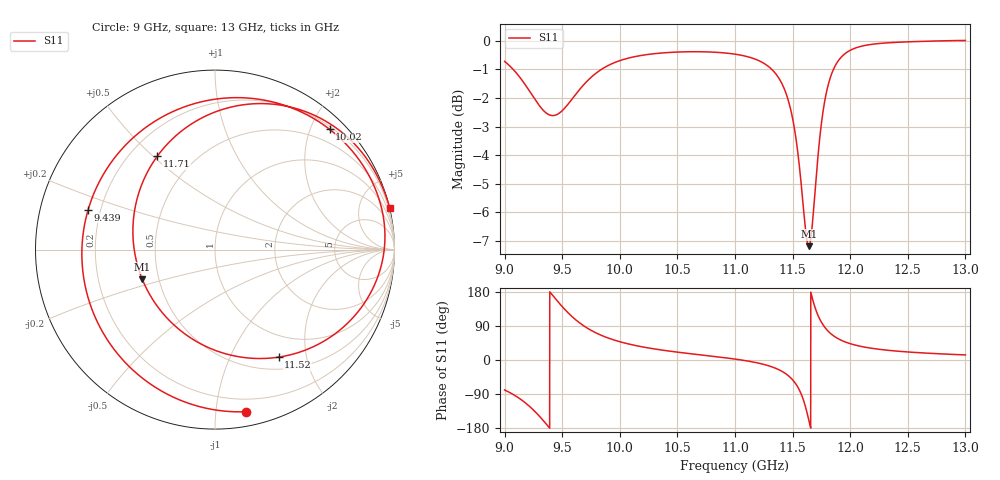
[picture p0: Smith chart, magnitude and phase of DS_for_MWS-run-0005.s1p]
! TOUCHSTONE file generated by CST DESIGN STUDIO
! Date and time: Tue Feb  4 15:52:04 2025
! Project name: C:\Work\MatlabApps\UnitCellOptimizationMatlab\CST\unitcell.cst
! Tree item: Tasks\Sweep1\SPara1\S-Parameters
! Header version: 2024
! Port assignment regex: !\s*Touchstone port\s*([0-9]+)\s*=\s*(CST MWS port|CST DES external port|CST DES block port)\s*(.+)\s* \(\"(.*)\"\)(\s*mode\s*([0-9]+))?.*
! Touchstone port assignment:
! Touchstone port 1 = CST DES external port 1 ("")
# GHz S MA R 50
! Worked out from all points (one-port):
!   4001 points, 9 GHz to 13 GHz, reference 50 ohm
!   lowest |S11| = -7.2 dB at 11.64 GHz (marker M1), VSWR 2.56, Z = 20.2 - j8.28 ohm
!   |S11| at or under -10 dB: nowhere
!   S11 on the Smith chart (normalised r, x): 9 GHz: 0.10, -1.21; 9.439 GHz: 0.15, +0.15; 10.02 GHz: 0.25, +2.31; 11.52 GHz: 0.66, -1.54; 11.71 GHz: 0.31, +0.52; 13 GHz: -0.02, +8.51
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9  0.9198 -79.0
9.118  0.8701 -99.3
9.217  0.8158 -122.6
9.338  0.7547 -160.6
9.439  0.7409 162.5
9.5  0.7545 140.9
9.59  0.7927 113.3
9.688  0.8381 90.0
9.836  0.8897 65.6
10  0.9227 48.2
10.022  0.9258 46.4
10.5  0.9551 20.7
11  0.947 2.5
11.333  0.8851 -19.5
11.427  0.8246 -33.4
11.5  0.7315 -52.3
11.519  0.6962 -59.4
11.583  0.5391 -96.2
11.64  0.4377 -157.7
11.676  0.4895 157.6
11.715  0.6117 121.7
11.757  0.7346 96.2
11.806  0.8324 76.8
11.892  0.9194 56.7
12  0.9618 43.1
12.189  0.9853 30.8
12.5  0.9951 21.2
13  1.001 13.4
